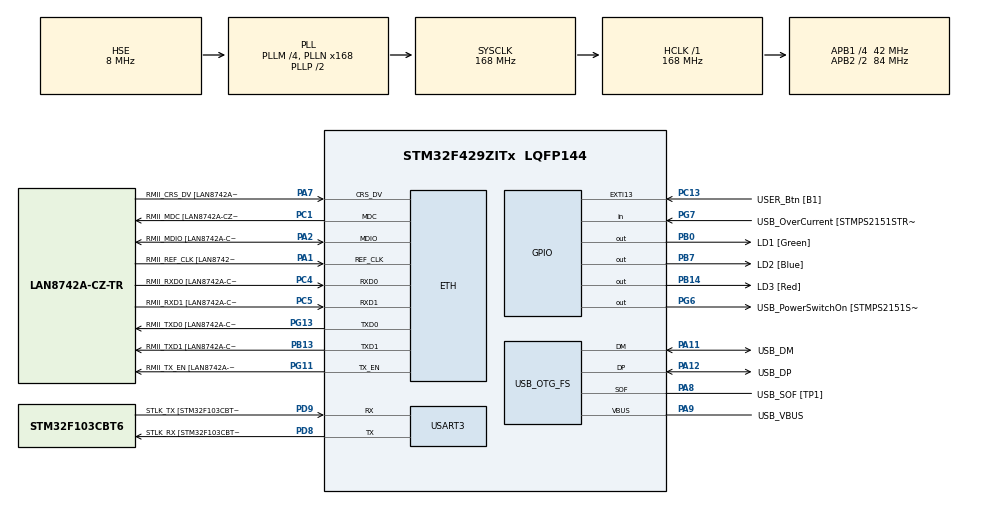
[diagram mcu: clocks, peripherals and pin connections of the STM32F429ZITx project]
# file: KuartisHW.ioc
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ETH.MediaInterface=HAL_ETH_RMII_MODE
ETH.PHY_Name=LAN8742A_PHY_ADDRESS
ETH.PHY_Value=0
ETH.PhyAddress=0
Mcu.Family=STM32F4
Mcu.Name=STM32F429ZITx
Mcu.Package=LQFP144
NVIC.PriorityGroup=NVIC_PRIORITYGROUP_4
PA1.GPIO_Label=RMII_REF_CLK [LAN8742A-CZ-TR_REFCLK0]
PA1.Mode=RMII
PA1.Signal=ETH_REF_CLK
PA10.GPIO_Label=USB_ID
PA10.Signal=USB_OTG_FS_ID
PA11.GPIO_Label=USB_DM
PA11.Mode=Device_Only
PA11.Signal=USB_OTG_FS_DM
PA12.GPIO_Label=USB_DP
PA12.Mode=Device_Only
PA12.Signal=USB_OTG_FS_DP
PA13.GPIO_Label=TMS
PA13.Mode=Serial_Wire
PA13.Signal=SYS_JTMS-SWDIO
PA14.GPIO_Label=TCK
PA14.Mode=Serial_Wire
PA14.Signal=SYS_JTCK-SWCLK
PA2.GPIO_Label=RMII_MDIO [LAN8742A-CZ-TR_MDIO]
PA2.Mode=RMII
PA2.Signal=ETH_MDIO
PA7.GPIO_Label=RMII_CRS_DV [LAN8742A-CZ-TR_CRS_DV]
PA7.Mode=RMII
PA7.Signal=ETH_CRS_DV
PA8.GPIO_Label=USB_SOF [TP1]
PA8.Mode=Activate_SOF_FS
PA8.Signal=USB_OTG_FS_SOF
PA9.GPIO_Label=USB_VBUS
PA9.Mode=Activate_VBUS
PA9.Signal=USB_OTG_FS_VBUS
PB0.GPIO_Label=LD1 [Green]
PB0.Signal=GPIO_Output
PB13.GPIO_Label=RMII_TXD1 [LAN8742A-CZ-TR_TXD1]
PB13.Mode=RMII
PB13.Signal=ETH_TXD1
PB14.GPIO_Label=LD3 [Red]
PB14.Signal=GPIO_Output
PB7.GPIO_Label=LD2 [Blue]
PB7.Signal=GPIO_Output
PC1.GPIO_Label=RMII_MDC [LAN8742A-CZ-TR_MDC]
PC1.Mode=RMII
PC1.Signal=ETH_MDC
PC13.GPIO_Label=USER_Btn [B1]
PC13.Signal=GPXTI13
PC14/OSC32_IN.Mode=LSE-External-Oscillator
PC14/OSC32_IN.Signal=RCC_OSC32_IN
PC15/OSC32_OUT.Mode=LSE-External-Oscillator
PC15/OSC32_OUT.Signal=RCC_OSC32_OUT
PC4.GPIO_Label=RMII_RXD0 [LAN8742A-CZ-TR_RXD0]
PC4.Mode=RMII
PC4.Signal=ETH_RXD0
PC5.GPIO_Label=RMII_RXD1 [LAN8742A-CZ-TR_RXD1]
PC5.Mode=RMII
PC5.Signal=ETH_RXD1
PD8.GPIO_Label=STLK_RX [STM32F103CBT6_PA3]
PD8.Mode=Asynchronous
PD8.Signal=USART3_TX
PD9.GPIO_Label=STLK_TX [STM32F103CBT6_PA2]
PD9.Mode=Asynchronous
PD9.Signal=USART3_RX
PG11.GPIO_Label=RMII_TX_EN [LAN8742A-CZ-TR_TXEN]
PG11.Mode=RMII
PG11.Signal=ETH_TX_EN
PG13.GPIO_Label=RMII_TXD0 [LAN8742A-CZ-TR_TXD0]
PG13.Mode=RMII
PG13.Signal=ETH_TXD0
PG6.GPIO_Label=USB_PowerSwitchOn [STMPS2151STR_EN]
PG6.Signal=GPIO_Output
PG7.GPIO_Label=USB_OverCurrent [STMPS2151STR_FAULT]
PG7.Signal=GPIO_Input
PH0/OSC_IN.GPIO_Label=MCO [STM32F103CBT6_PA8]
PH0/OSC_IN.Mode=HSE-External-Clock-Source
PH0/OSC_IN.Signal=RCC_OSC_IN
PH1/OSC_OUT.Mode=HSE-External-Clock-Source
PH1/OSC_OUT.Signal=RCC_OSC_OUT
ProjectManager.HeapSize=0x200
ProjectManager.StackSize=0x400
ProjectManager.TargetToolchain=STM32CubeIDE
RCC.48MHZClocksFreq_Value=48000000
RCC.AHBFreq_Value=168000000
RCC.APB1CLKDivider=RCC_HCLK_DIV4
RCC.APB1Freq_Value=42000000
RCC.APB1TimFreq_Value=84000000
RCC.APB2CLKDivider=RCC_HCLK_DIV2
RCC.APB2Freq_Value=84000000
RCC.APB2TimCLKDivider=2
RCC.APB2TimFreq_Value=168000000
RCC.CortexFreq_Value=168000000
RCC.HCLKFreq_Value=168000000
RCC.HSE_VALUE=8000000
RCC.HSI_VALUE=16000000
RCC.PLLM=4
RCC.PLLMUL=RCC_PLL_MUL9
RCC.PLLN=168
RCC.PLLQ=7
RCC.PRESCALERUSB=RCC_USBCLKSOURCE_PLL_DIV1_5
RCC.SYSCLKFreq_VALUE=168000000
RCC.SYSCLKSource=RCC_SYSCLKSOURCE_PLLCLK
RCC.SYSCLKSourceVirtual=RCC_SYSCLKSOURCE_PLLCLK
RCC.USBFreq_Value=48000000
RCC.VCOOutputFreq_Value=336000000
USART3.VirtualMode=VM_ASYNC
USB_OTG_FS.VirtualMode=Device_Only
board=NUCLEO-F429ZI

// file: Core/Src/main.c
/* USER CODE BEGIN Header */
/**
  ******************************************************************************
  * @file           : main.c
  * @brief          : Main program body
  ******************************************************************************
  * @attention
  *
  * Copyright (c) 2023 STMicroelectronics.
  * All rights reserved.
  *
  * This software is licensed under terms that can be found in the LICENSE file
  * in the root directory of this software component.
  * If no LICENSE file comes with this software, it is provided AS-IS.
  *
  ******************************************************************************
  */
/* USER CODE END Header */
#include "main.h"
#include "string.h"
#include <stdbool.h>

ETH_TxPacketConfig TxConfig;
ETH_DMADescTypeDef  DMARxDscrTab[ETH_RX_DESC_CNT]; /* Ethernet Rx DMA Descriptors */
ETH_DMADescTypeDef  DMATxDscrTab[ETH_TX_DESC_CNT]; /* Ethernet Tx DMA Descriptors */

ETH_HandleTypeDef heth;

UART_HandleTypeDef huart3;

PCD_HandleTypeDef hpcd_USB_OTG_FS;

#define BUTTON_PIN GPIO_PIN_13
#define GREEN_LED GPIO_PIN_0
#define RED_LED GPIO_PIN_14
#define LED_PORT GPIOB
#define BUTTON_PORT GPIOC
unsigned char SystemState = 0;
char LedState1[10] = "";
char LedState0[10] = "";
int ButtonPressCount = 0;
int previousPressCount = 0;

void SystemClock_Config(void);
static void MX_GPIO_Init(void);
static void MX_ETH_Init(void);
static void MX_USART3_UART_Init(void);
static void MX_USB_OTG_FS_PCD_Init(void);

void EXTI15_10_IRQHandler(void) {
    HAL_GPIO_EXTI_IRQHandler(BUTTON_PIN);
}

void HAL_GPIO_EXTI_Callback(uint16_t GPIO_Pin) {
	if (GPIO_Pin == BUTTON_PIN) {
        // PC13 button has been pressed
    	ButtonPressCount++;
    }
}

int main(void)
{

  /* MCU Configuration--------------------------------------------------------*/
  /* Reset of all peripherals, Initializes the Flash interface and the Systick. */
  HAL_Init();

  /* Configure the system clock */
  SystemClock_Config();

  /* Initialize all configured peripherals */
  MX_GPIO_Init();
  MX_ETH_Init();
  MX_USART3_UART_Init();
  MX_USB_OTG_FS_PCD_Init();

  GPIO_InitTypeDef GPIO_InitStruct;
  GPIO_InitStruct.Pin = BUTTON_PIN;
  GPIO_InitStruct.Mode = GPIO_MODE_IT_FALLING; // Interrupt on falling edge
  GPIO_InitStruct.Pull = GPIO_NOPULL; // No internal pull-up or pull-down resistor
  GPIO_InitStruct.Speed = GPIO_SPEED_FREQ_HIGH; // High speed
  HAL_GPIO_Init(BUTTON_PORT, &GPIO_InitStruct);

  HAL_NVIC_SetPriority(EXTI15_10_IRQn, 0, 0); // Set priority to 0
  HAL_NVIC_EnableIRQ(EXTI15_10_IRQn);

  /* Infinite loop */
  /* USER CODE BEGIN WHILE */

  while (1)
  {

	  if(previousPressCount != ButtonPressCount){
		  SystemState = ButtonPressCount % 4;

		  strcpy(LedState0, (SystemState % 2) ? "ON" : "OFF");
		  strcpy(LedState1, (SystemState > 1) ? "ON" : "OFF");

//		  create String
		  char str[50];
		  sprintf(str, "$$%d,%s,%s,%d**", SystemState, LedState1,LedState0,ButtonPressCount);
		  HAL_UART_Transmit(&huart3, (uint8_t*)str, strlen(str), HAL_MAX_DELAY);

//		  set LED states
		  if(SystemState % 2){
			  HAL_GPIO_WritePin(LED_PORT, RED_LED, GPIO_PIN_SET);
		  }else{
			  HAL_GPIO_WritePin(LED_PORT, RED_LED, GPIO_PIN_RESET);
		  }

		  if(SystemState > 1){
			  HAL_GPIO_WritePin(LED_PORT, GREEN_LED, GPIO_PIN_SET);
		  }else{
			  HAL_GPIO_WritePin(LED_PORT, GREEN_LED, GPIO_PIN_RESET);
		  }

		  previousPressCount = ButtonPressCount;
	  }

  	  HAL_Delay(5);
    /* USER CODE END WHILE */

  }
}

void SystemClock_Config(void)
{
  RCC_OscInitTypeDef RCC_OscInitStruct = {0};
  RCC_ClkInitTypeDef RCC_ClkInitStruct = {0};

  /** Configure the main internal regulator output voltage
  */
  __HAL_RCC_PWR_CLK_ENABLE();
  __HAL_PWR_VOLTAGESCALING_CONFIG(PWR_REGULATOR_VOLTAGE_SCALE1);

  /** Initializes the RCC Oscillators according to the specified parameters
  * in the RCC_OscInitTypeDef structure.
  */
  RCC_OscInitStruct.OscillatorType = RCC_OSCILLATORTYPE_HSE;
  RCC_OscInitStruct.HSEState = RCC_HSE_BYPASS;
  RCC_OscInitStruct.PLL.PLLState = RCC_PLL_ON;
  RCC_OscInitStruct.PLL.PLLSource = RCC_PLLSOURCE_HSE;
  RCC_OscInitStruct.PLL.PLLM = 4;
  RCC_OscInitStruct.PLL.PLLN = 168;
  RCC_OscInitStruct.PLL.PLLP = RCC_PLLP_DIV2;
  RCC_OscInitStruct.PLL.PLLQ = 7;
  if (HAL_RCC_OscConfig(&RCC_OscInitStruct) != HAL_OK)
  {
    Error_Handler();
  }

  /** Initializes the CPU, AHB and APB buses clocks
  */
  RCC_ClkInitStruct.ClockType = RCC_CLOCKTYPE_HCLK|RCC_CLOCKTYPE_SYSCLK
                              |RCC_CLOCKTYPE_PCLK1|RCC_CLOCKTYPE_PCLK2;
  RCC_ClkInitStruct.SYSCLKSource = RCC_SYSCLKSOURCE_PLLCLK;
  RCC_ClkInitStruct.AHBCLKDivider = RCC_SYSCLK_DIV1;
  RCC_ClkInitStruct.APB1CLKDivider = RCC_HCLK_DIV4;
  RCC_ClkInitStruct.APB2CLKDivider = RCC_HCLK_DIV2;

  if (HAL_RCC_ClockConfig(&RCC_ClkInitStruct, FLASH_LATENCY_5) != HAL_OK)
  {
    Error_Handler();
  }
}

static void MX_ETH_Init(void)
{

   static uint8_t MACAddr[6];

  heth.Instance = ETH;
  MACAddr[0] = 0x00;
  MACAddr[1] = 0x80;
  MACAddr[2] = 0xE1;
  MACAddr[3] = 0x00;
  MACAddr[4] = 0x00;
  MACAddr[5] = 0x00;
  heth.Init.MACAddr = &MACAddr[0];
  heth.Init.MediaInterface = HAL_ETH_RMII_MODE;
  heth.Init.TxDesc = DMATxDscrTab;
  heth.Init.RxDesc = DMARxDscrTab;
  heth.Init.RxBuffLen = 1524;

  if (HAL_ETH_Init(&heth) != HAL_OK)
  {
    Error_Handler();
  }

  memset(&TxConfig, 0 , sizeof(ETH_TxPacketConfig));
  TxConfig.Attributes = ETH_TX_PACKETS_FEATURES_CSUM | ETH_TX_PACKETS_FEATURES_CRCPAD;
  TxConfig.ChecksumCtrl = ETH_CHECKSUM_IPHDR_PAYLOAD_INSERT_PHDR_CALC;
  TxConfig.CRCPadCtrl = ETH_CRC_PAD_INSERT;

}

static void MX_USART3_UART_Init(void)
{

  huart3.Instance = USART3;
  huart3.Init.BaudRate = 115200;
  huart3.Init.WordLength = UART_WORDLENGTH_8B;
  huart3.Init.StopBits = UART_STOPBITS_1;
  huart3.Init.Parity = UART_PARITY_NONE;
  huart3.Init.Mode = UART_MODE_TX_RX;
  huart3.Init.HwFlowCtl = UART_HWCONTROL_NONE;
  huart3.Init.OverSampling = UART_OVERSAMPLING_16;
  if (HAL_UART_Init(&huart3) != HAL_OK)
  {
    Error_Handler();
  }

}

static void MX_USB_OTG_FS_PCD_Init(void)
{
  hpcd_USB_OTG_FS.Instance = USB_OTG_FS;
  hpcd_USB_OTG_FS.Init.dev_endpoints = 4;
  hpcd_USB_OTG_FS.Init.speed = PCD_SPEED_FULL;
  hpcd_USB_OTG_FS.Init.dma_enable = DISABLE;
  hpcd_USB_OTG_FS.Init.phy_itface = PCD_PHY_EMBEDDED;
  hpcd_USB_OTG_FS.Init.Sof_enable = ENABLE;
  hpcd_USB_OTG_FS.Init.low_power_enable = DISABLE;
  hpcd_USB_OTG_FS.Init.lpm_enable = DISABLE;
  hpcd_USB_OTG_FS.Init.vbus_sensing_enable = ENABLE;
  hpcd_USB_OTG_FS.Init.use_dedicated_ep1 = DISABLE;
  if (HAL_PCD_Init(&hpcd_USB_OTG_FS) != HAL_OK)
  {
    Error_Handler();
  }
}

static void MX_GPIO_Init(void)
{
  GPIO_InitTypeDef GPIO_InitStruct = {0};

  /* GPIO Ports Clock Enable */
  __HAL_RCC_GPIOC_CLK_ENABLE();
  __HAL_RCC_GPIOH_CLK_ENABLE();
  __HAL_RCC_GPIOA_CLK_ENABLE();
  __HAL_RCC_GPIOB_CLK_ENABLE();
  __HAL_RCC_GPIOD_CLK_ENABLE();
  __HAL_RCC_GPIOG_CLK_ENABLE();

  /*Configure GPIO pin Output Level */
  HAL_GPIO_WritePin(GPIOB, LD1_Pin|LD3_Pin|LD2_Pin, GPIO_PIN_RESET);

  /*Configure GPIO pin Output Level */
  HAL_GPIO_WritePin(USB_PowerSwitchOn_GPIO_Port, USB_PowerSwitchOn_Pin, GPIO_PIN_RESET);

  /*Configure GPIO pin : USER_Btn_Pin */
  GPIO_InitStruct.Pin = USER_Btn_Pin;
  GPIO_InitStruct.Mode = GPIO_MODE_IT_RISING;
  GPIO_InitStruct.Pull = GPIO_NOPULL;
  HAL_GPIO_Init(USER_Btn_GPIO_Port, &GPIO_InitStruct);

  /*Configure GPIO pins : LD1_Pin LD3_Pin LD2_Pin */
  GPIO_InitStruct.Pin = LD1_Pin|LD3_Pin|LD2_Pin;
  GPIO_InitStruct.Mode = GPIO_MODE_OUTPUT_PP;
  GPIO_InitStruct.Pull = GPIO_NOPULL;
  GPIO_InitStruct.Speed = GPIO_SPEED_FREQ_LOW;
  HAL_GPIO_Init(GPIOB, &GPIO_InitStruct);

  /*Configure GPIO pin : USB_PowerSwitchOn_Pin */
  GPIO_InitStruct.Pin = USB_PowerSwitchOn_Pin;
  GPIO_InitStruct.Mode = GPIO_MODE_OUTPUT_PP;
  GPIO_InitStruct.Pull = GPIO_NOPULL;
  GPIO_InitStruct.Speed = GPIO_SPEED_FREQ_LOW;
  HAL_GPIO_Init(USB_PowerSwitchOn_GPIO_Port, &GPIO_InitStruct);

  /*Configure GPIO pin : USB_OverCurrent_Pin */
  GPIO_InitStruct.Pin = USB_OverCurrent_Pin;
  GPIO_InitStruct.Mode = GPIO_MODE_INPUT;
  GPIO_InitStruct.Pull = GPIO_NOPULL;
  HAL_GPIO_Init(USB_OverCurrent_GPIO_Port, &GPIO_InitStruct);

}

void Error_Handler(void)
{
  __disable_irq();
  while (1)
  {
  }
}
